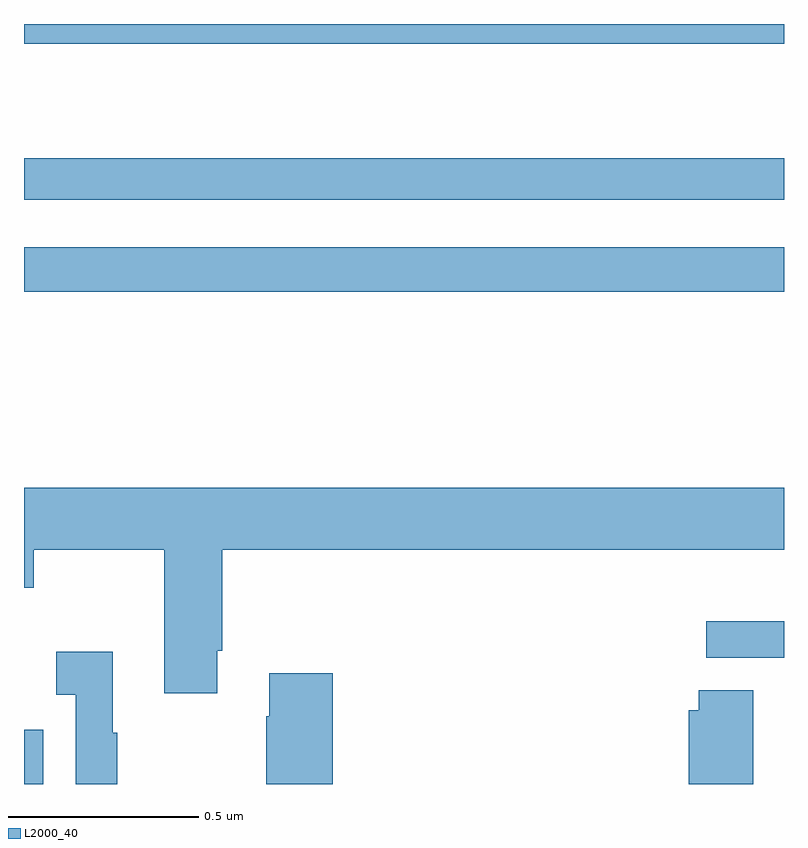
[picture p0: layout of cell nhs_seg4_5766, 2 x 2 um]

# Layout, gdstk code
import gdstk
lib = gdstk.Library(unit=1e-6, precision=1e-09)
def R(c, l, rs):  # rectangles x0, y0, x1, y1
    for r in rs: c.add(gdstk.rectangle(r[:2], r[2:], *l))
def P(c, l, *ps):  # polygons
    for p in ps: c.add(gdstk.Polygon(p, *l))
L2000_40 = (2000, 40)

nhs_seg4_5766 = lib.new_cell('nhs_seg4_5766')
R(nhs_seg4_5766, L2000_40, [(182,766.9,182.051,767.043), (183.795,767.232,184,767.328), (182,768.196,184,768.312), (182,768.438,184,768.547), (182,768.848,184,768.9)])
P(nhs_seg4_5766, L2000_40, [(182.509,767.251),(182.522,767.251),(182.522,767.516),(184,767.516),(184,767.68),(182,767.68),(182,767.417),(182.025,767.417),(182.025,767.516),(182.369,767.516),(182.369,767.139),(182.509,767.139)],
  [(182.245,767.035),(182.233,767.035),(182.233,767.248),(182.085,767.248),(182.085,767.135),(182.136,767.135),(182.136,766.9),(182.245,766.9)],
  [(182.813,767.191),(182.645,767.191),(182.645,767.078),(182.638,767.078),(182.638,766.9),(182.813,766.9)],
  [(183.919,767.147),(183.776,767.147),(183.776,767.094),(183.749,767.094),(183.749,766.9),(183.919,766.9)])

lib.write_gds('nhs_seg4_5766.gds')
